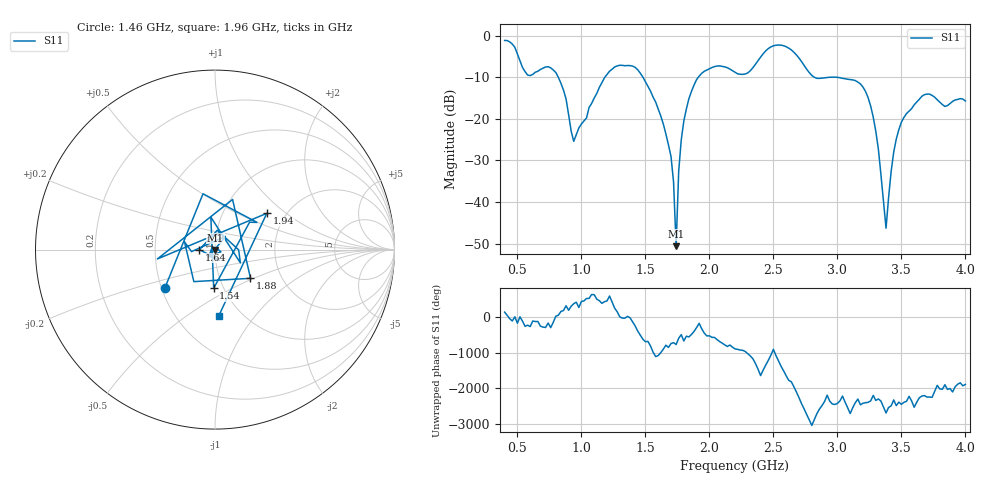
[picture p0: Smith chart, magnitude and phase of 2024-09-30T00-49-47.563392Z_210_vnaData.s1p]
!Created with skrf (http://scikit-rf.org).
# Hz S RI R 50.0
!freq ReS11 ImS11
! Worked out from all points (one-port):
!   181 points, 400 MHz to 4 GHz, reference 50 ohm
!   lowest |S11| = -50.6 dB at 1.74 GHz (marker M1), VSWR 1.01, Z = 50.2 - j0.222 ohm
!   |S11| at or under -10 dB: 819.4 MHz to 1.183 GHz (364 MHz wide, 36.3 % of centre); 1.481 GHz to 1.914 GHz (433.1 MHz wide, 25.5 % of centre); 2.985 GHz to end of sweep (the widest 3 of 4)
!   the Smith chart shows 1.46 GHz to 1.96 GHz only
!   S11 on the Smith chart (normalised r, x): 1.46 GHz: 0.52, -0.26; 1.54 GHz: 0.90, -0.41; 1.64 GHz: 0.84, +0.00; 1.88 GHz: 1.40, -0.48; 1.94 GHz: 1.60, +0.74; 1.96 GHz: 0.78, -0.68
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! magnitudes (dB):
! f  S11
! 400 MHz  -1.2
! 580 MHz  -9.5
! 740 MHz  -7.5
! 860 MHz  -13.1
! 940 MHz  -25.4
! 1.3 GHz  -7.1
! 1.46 GHz  -9.0
! 1.54 GHz  -13.3
! 1.64 GHz  -21.3
! 1.7 GHz  -29.0
! 1.72 GHz  -35.2
! 1.74 GHz  -50.6
! 1.76 GHz  -32.7
! 1.8 GHz  -20.5
! 1.88 GHz  -11.9
! 1.94 GHz  -9.1
! 1.96 GHz  -8.6
! 2.2 GHz  -8.8
! 2.66 GHz  -4.0
! 2.82 GHz  -10.0
! 3.1 GHz  -10.6
! 3.26 GHz  -16.9
! 3.32 GHz  -27.3
! 3.38 GHz  -46.3
! 3.46 GHz  -24.9
! 3.56 GHz  -18.1
! 3.7 GHz  -14.1
! 4 GHz  -15.7
